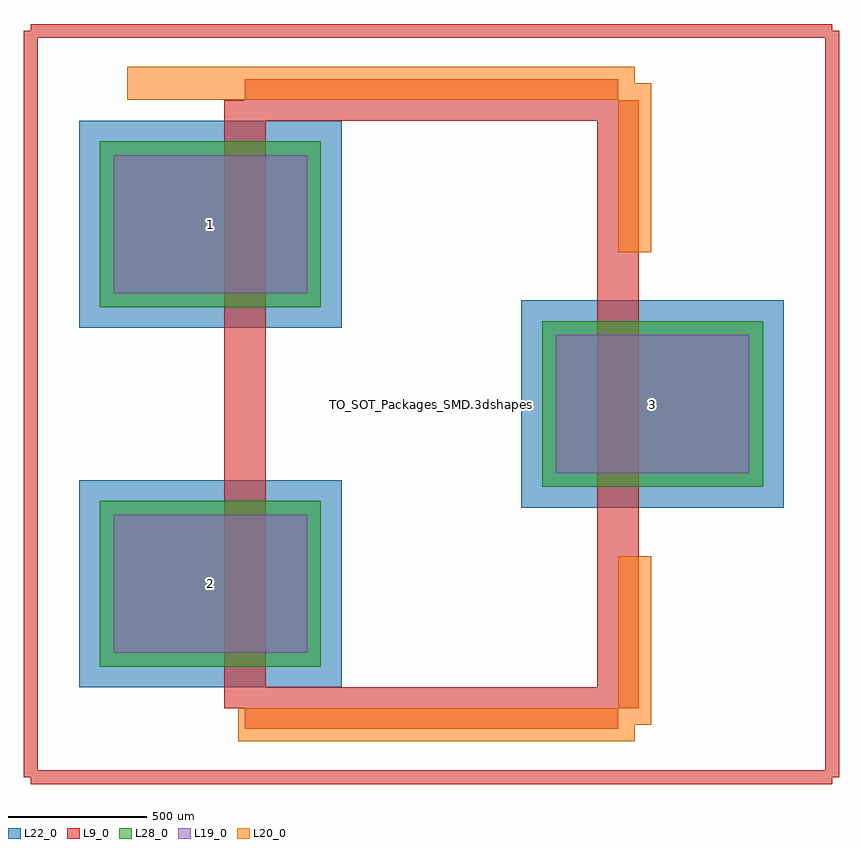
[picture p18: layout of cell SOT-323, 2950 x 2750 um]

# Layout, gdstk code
import gdstk
lib = gdstk.Library(unit=1e-6, precision=1e-09)
def R(c, l, rs):  # rectangles x0, y0, x1, y1
    for r in rs: c.add(gdstk.rectangle(r[:2], r[2:], *l))
L9_0 = (9, 0)
L19_0 = (19, 0)
L20_0 = (20, 0)
L22_0 = (22, 0)
L28_0 = (28, 0)

sot_323 = lib.new_cell('SOT-323')
R(sot_323, L19_0, [(-1150,-900,-450,-400), (450,-250,1150,250), (-1150,400,-450,900)])
R(sot_323, L22_0, [(-1275,-1025,-325,-275), (325,-375,1275,375), (-1275,275,-325,1025)])
R(sot_323, L28_0, [(-1200,-950,-400,-350), (400,-300,1200,300), (-1200,350,-400,950)])
sot_323.add(gdstk.FlexPath([(675,1100),(675,-1100)], 149.998, ends="flush", simple_path=True, layer=9, datatype=0))  # L9_0
sot_323.add(gdstk.FlexPath([(-675,1100),(675,1100)], 149.998, ends="flush", simple_path=True, layer=9, datatype=0))  # L9_0
sot_323.add(gdstk.FlexPath([(1450,1350),(1450,-1350)], 50, ends="flush", simple_path=True, layer=9, datatype=0))  # L9_0
sot_323.add(gdstk.FlexPath([(-700,-1160),(735,-1160)], 119.998, ends="flush", simple_path=True, layer=20, datatype=0))  # L20_0
sot_323.add(gdstk.FlexPath([(735,1160),(-1100,1160)], 119.998, ends="flush", simple_path=True, layer=20, datatype=0))  # L20_0
sot_323.add(gdstk.FlexPath([(-1450,1350),(-1450,-1350)], 50, ends="flush", simple_path=True, layer=9, datatype=0))  # L9_0
sot_323.add(gdstk.FlexPath([(-1450,-1350),(1450,-1350)], 50, ends="flush", simple_path=True, layer=9, datatype=0))  # L9_0
sot_323.add(gdstk.FlexPath([(-1450,1350),(1450,1350)], 50, ends="flush", simple_path=True, layer=9, datatype=0))  # L9_0
sot_323.add(gdstk.FlexPath([(-675,-1100),(675,-1100)], 149.998, ends="flush", simple_path=True, layer=9, datatype=0))  # L9_0
sot_323.add(gdstk.FlexPath([(-675,1100),(-675,-1100)], 149.998, ends="flush", simple_path=True, layer=9, datatype=0))  # L9_0
sot_323.add(gdstk.FlexPath([(735,1160),(735,550)], 119.998, ends="flush", simple_path=True, layer=20, datatype=0))  # L20_0
sot_323.add(gdstk.FlexPath([(735,-1160),(735,-550)], 119.998, ends="flush", simple_path=True, layer=20, datatype=0))  # L20_0
sot_323.add(gdstk.Label('TO_SOT_Packages_SMD.3dshapes/SOT-323.wrl', (0,0), layer=12, texttype=0))
sot_323.add(gdstk.Label('3', (800,0), layer=28, texttype=0))
sot_323.add(gdstk.Label('1', (-800,650), layer=28, texttype=0))
sot_323.add(gdstk.Label('2', (-800,-650), layer=28, texttype=0))
sot_323.add(gdstk.Label('type', (0,-2500), layer=9, texttype=0))
sot_323.add(gdstk.Label('devicename', (0,2500), layer=9, texttype=0))

lib.write_gds('SOT-323.gds')
